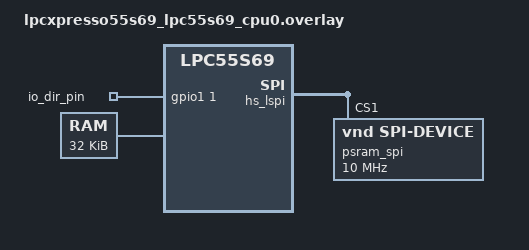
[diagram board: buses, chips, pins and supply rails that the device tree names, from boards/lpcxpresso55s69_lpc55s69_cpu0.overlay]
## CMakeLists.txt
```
cmake_minimum_required(VERSION 3.20.0)

set(CMAKE_C_STANDARD 11)
set(CMAKE_CXX_STANDARD 17)

find_package(Zephyr REQUIRED HINTS $ENV{ZEPHYR_BASE})
project(app)

target_include_directories(app PRIVATE ../../../modules/bunny_build/src)
target_include_directories(app PUBLIC ../../../modules/hal/nxp/mcux/mcux-sdk/drivers/sysctl)
target_include_directories(app PRIVATE ./src)                            

target_sources(app PRIVATE  src/main.cpp
                            src/ext_ram.cpp
                            src/ezh_app.c
                        )

target_sources(app PRIVATE ../../../modules/bunny_build/src/bunny_build.c)
target_sources(app PRIVATE ../../../modules/bunny_build/src/ezh_init.c)
```

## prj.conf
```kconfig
CONFIG_LOG=y
CONFIG_SHELL=y
CONFIG_GPIO=y
CONFIG_LOG_CMDS=y


CONFIG_LOG_BUFFER_SIZE=32768


CONFIG_GPIO=y
CONFIG_FPU=y
CONFIG_CPP=y
CONFIG_SHELL_STACK_SIZE=4096 
CONFIG_STD_CPP17=y
CONFIG_BUILD_OUTPUT_HEX=y

CONFIG_SHELL_VT100_COLORS=y
CONFIG_SPI_MCUX_FLEXCOMM_DMA=y
CONFIG_SPI=y


CONFIG_UART_CONSOLE=n
CONFIG_RTT_CONSOLE=y
CONFIG_USE_SEGGER_RTT=y
CONFIG_SHELL_BACKEND_RTT=y

#CONFIG_UART_CONSOLE=y
#CONFIG_RTT_CONSOLE=n
#CONFIG_USE_SEGGER_RTT=n
#CONFIG_SHELL_BACKEND_RTT=n

#Make shell stack a little bigger for larger psram test buffers in the
#mem_test routints
CONFIG_SHELL_STACK_SIZE=8192 

CONFIG_SHELL_PROMPT_UART="i_am_gibbon>"
CONFIG_SHELL_PROMPT_RTT="i_am_gibbon>"
```

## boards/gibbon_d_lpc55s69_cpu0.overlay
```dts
/ {

    aliases {
		io-dir-pin = &io_dir_pin;
	};

    gpio_keys{
        io_dir_pin: P11 {
			gpios = <&gpio1 1 GPIO_ACTIVE_HIGH>;
		};
    };
};

&hs_lspi
{
    status = "okay";

    pinctrl-0 = <&pinmux_hs_lspi_default>;
    pinctrl-names = "default";

    /delete-node/ psram@1;

    psram_spi: psram@0 {
        compatible = "vnd,spi-device";
        reg = <0>; //Use Chip select 1
        spi-max-frequency = <25000000>; //50000000
        };
};


&pinctrl {

    pinmux_hs_lspi_default: pinmux_hs_lspi_default {
        group0 {        
            pinmux = <HS_SPI_SSEL0_PIO0_20>,     // MCUX-LINK PRO SSEL0  
                <HS_SPI_SCK_PIO1_2>,            //CORRECT
                <HS_SPI_MISO_PIO1_3>,           //CORRECT
                <HS_SPI_MOSI_PIO0_26>;          //CORRECT
            bias-pull-up;
            slew-rate = "standard";
        };
    };
};
```

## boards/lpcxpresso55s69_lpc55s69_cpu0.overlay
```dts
&hs_lspi
{
    status = "okay";

    pinctrl-0 = <&pinmux_hs_lspi_default>;
    pinctrl-names = "default";

    /delete-property/ cs-gpios;

    psram_spi: psram@1 {
        compatible = "vnd,spi-device";
        reg = <1>; //Use Chip select 1
        spi-max-frequency = <10000000>; //50000000
        };
};

//&sram {
//    sramx: memory@4000000 {
//        compatible =  "zephyr,memory-region", "mmio-sram";
//        reg = <0x04000000 DT_SIZE_K(32)>;
//        zephyr,memory-region = "SRAMX";
//        zephyr,memory-attr = <( DT_MEM_ARM(ATTR_MPU_IO) )>;
//    };
//};

&pinctrl {

    pinmux_hs_lspi_default: pinmux_hs_lspi_default {
        group0 {        
            pinmux = 
               <HS_SPI_SSEL0_PIO0_20>,     // MCUX-LINK PRO SSEL0  
               // <HS_SPI_SSEL1_PIO1_1>,     // LPC55S69 Xpresso SSEL1
                <HS_SPI_SCK_PIO1_2>,            //CORRECT
                <HS_SPI_MISO_PIO1_3>,           //CORRECT
                <HS_SPI_MOSI_PIO0_26>;          //CORRECT
            bias-pull-up;
            slew-rate = "standard";
        };
    };
};

/ {

    aliases {
		io-dir-pin = &io_dir_pin;
	};


    gpio_keys{
       io_dir_pin: P11 {
			gpios = <&gpio1 1 GPIO_ACTIVE_HIGH>;
		};
    };

    sram_ezh0: memory@4000000{
        compatible = "zephyr,memory-region", "mmio-sram";
        reg = <0x4000000 DT_SIZE_K(32)>;
        zephyr,memory-region="SRAMX_EZH";
        zephyr,memory-attr = <( DT_MEM_ARM(ATTR_MPU_IO))>;
	 };
};
```

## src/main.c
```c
#include <zephyr/kernel.h>
#include <zephyr/logging/log.h>
#include <zephyr/shell/shell.h>
#include "ezh_app.h"

static int monkey_handler(const struct shell *shell, 
                      size_t argc,
                      char **argv)
{
   ARG_UNUSED(argc);
   ARG_UNUSED(argv);

   shell_fprintf(shell,SHELL_VT100_COLOR_YELLOW,"\r\n");
   shell_fprintf(shell,SHELL_VT100_COLOR_YELLOW,"                 ██████████████████████████            \r\n");
   shell_fprintf(shell,SHELL_VT100_COLOR_YELLOW,"               ██▒▒▒▒▒▒▒▒▒▒▒▒▒▒▒▒▒▒▒▒▒▒▒▒▒▒██          \r\n");
   shell_fprintf(shell,SHELL_VT100_COLOR_YELLOW,"               ██▒▒▒▒▒▒▒▒▒▒▒▒▒▒▒▒▒▒▒▒▒▒▒▒▒▒▒▒██        \r\n");
   shell_fprintf(shell,SHELL_VT100_COLOR_YELLOW,"             ██▒▒▒▒░░░░░░▒▒▒▒▒▒▒▒▒▒▒▒▒▒▒▒░░░░██        \r\n");
   shell_fprintf(shell,SHELL_VT100_COLOR_YELLOW,"         ██████▒▒░░░░░░░░░░▒▒▒▒▒▒▒▒▒▒▒▒░░░░░░░░██      \r\n");
   shell_fprintf(shell,SHELL_VT100_COLOR_YELLOW,"       ██░░░░░░▒▒░░░░░░░░░░░░░░░░░░░░░░░░░░░░░░██████  \r\n");
   shell_fprintf(shell,SHELL_VT100_COLOR_YELLOW,"       ██░░░░░░▒▒░░░░░░░░░░░░░░░░░░░░░░░░░░░░░░██░░░░██\r\n");
   shell_fprintf(shell,SHELL_VT100_COLOR_YELLOW,"       ██░░░░░░▒▒░░░░░░░░░░██░░░░░░░░██░░░░░░░░██░░░░██\r\n");
   shell_fprintf(shell,SHELL_VT100_COLOR_YELLOW,"         ████░░▒▒░░░░░░░░░░██░░░░░░░░██░░░░░░░░██████  \r\n");
   shell_fprintf(shell,SHELL_VT100_COLOR_YELLOW,"             ██▒▒░░░░░░░░░░░░░░░░░░░░░░░░░░░░░░██      \r\n");
   shell_fprintf(shell,SHELL_VT100_COLOR_YELLOW,"     ████      ██▒▒░░░░░░░░░░░░░░░░░░░░░░░░░░██        \r\n");
   shell_fprintf(shell,SHELL_VT100_COLOR_YELLOW,"   ██    ██      ██▒▒░░░░░░░░░░░░░░░░░░░░░░██          \r\n");
   shell_fprintf(shell,SHELL_VT100_COLOR_YELLOW,"   ██  ██      ██▒▒▒▒▒▒▒▒▒▒▒▒▒▒▒▒▒▒▒▒▒▒▒▒▒▒▒▒██        \r\n");
   shell_fprintf(shell,SHELL_VT100_COLOR_YELLOW,"   ██          ██▒▒▒▒▒▒▒▒░░░░░░░░░░░░▒▒▒▒▒▒▒▒██        \r\n");
   shell_fprintf(shell,SHELL_VT100_COLOR_YELLOW,"     ████    ██▒▒▒▒▒▒▒▒░░░░░░░░░░░░░░░░▒▒▒▒▒▒▒▒██      \r\n");
   shell_fprintf(shell,SHELL_VT100_COLOR_YELLOW,"         ██████▒▒▒▒▒▒▒▒░░░░░░░░░░░░░░░░▒▒▒▒▒▒▒▒██      \r\n");
   shell_fprintf(shell,SHELL_VT100_COLOR_YELLOW,"             ██▒▒▒▒██▒▒░░░░░░░░░░░░░░░░▒▒██▒▒▒▒██      \r\n");
   shell_fprintf(shell,SHELL_VT100_COLOR_YELLOW,"               ██████▒▒▒▒░░░░░░░░░░░░▒▒▒▒██████        \r\n");
   shell_fprintf(shell,SHELL_VT100_COLOR_YELLOW,"                   ██▒▒▒▒▒▒████████▒▒▒▒▒▒██            \r\n");
   shell_fprintf(shell,SHELL_VT100_COLOR_YELLOW,"                   ██░░░░██        ██░░░░██            \r\n");
   shell_fprintf(shell,SHELL_VT100_COLOR_YELLOW,"                   ██████            ██████            \r\n");
   shell_fprintf(shell,SHELL_VT100_COLOR_YELLOW,"\r\n");
   shell_fprintf(shell,SHELL_VT100_COLOR_CYAN,"                          I'm Super\r\n");
      
   return 0;
}

SHELL_CMD_REGISTER(monkey, NULL, "I'm super.", monkey_handler);

LOG_MODULE_REGISTER(main);


int main(void)
{
    LOG_INF("Hello Zephyr!");
   

    ezh__start_app();

    while (1)
    {
                ezh__execute_command(2);
        k_sleep(K_MSEC(100));

        ezh__execute_command(1);
        k_sleep(K_MSEC(100));

    }

    while (1)
    {   
        LOG_INF("Hello from main!");
        k_sleep(K_MSEC(500));
    }
    
	return 0;
}
```

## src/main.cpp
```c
#include <zephyr/kernel.h>
#include <zephyr/logging/log.h>
#include <zephyr/shell/shell.h>
#include "fsl_clock.h"
#include "fsl_device_registers.h"
#include "ezh_app.h"
#include "ext_ram.h"
#include "fsl_common.h"
#include "fsl_clock.h"
#include "fsl_common.h"
#include "fsl_clock.h"
#include "fsl_spi.h"
#include "fsl_iocon.h"
#include <fsl_sysctl.h>

LOG_MODULE_REGISTER(main);

static ExtRAM ext_ram; // create RAM instaance

static int gibbon_handler(const struct shell *shell,
						  size_t argc,
						  char **argv)
{
	ARG_UNUSED(argc);
	ARG_UNUSED(argv);

	shell_fprintf(shell, SHELL_VT100_COLOR_YELLOW, "\r\n");
	shell_fprintf(shell, SHELL_VT100_COLOR_YELLOW, "                 ██████████████████████████            \r\n");
	shell_fprintf(shell, SHELL_VT100_COLOR_YELLOW, "               ██▒▒▒▒▒▒▒▒▒▒▒▒▒▒▒▒▒▒▒▒▒▒▒▒▒▒██          \r\n");
	shell_fprintf(shell, SHELL_VT100_COLOR_YELLOW, "               ██▒▒▒▒▒▒▒▒▒▒▒▒▒▒▒▒▒▒▒▒▒▒▒▒▒▒▒▒██        \r\n");
	shell_fprintf(shell, SHELL_VT100_COLOR_YELLOW, "             ██▒▒▒▒░░░░░░▒▒▒▒▒▒▒▒▒▒▒▒▒▒▒▒░░░░██        \r\n");
	shell_fprintf(shell, SHELL_VT100_COLOR_YELLOW, "         ██████▒▒░░░░░░░░░░▒▒▒▒▒▒▒▒▒▒▒▒░░░░░░░░██      \r\n");
	shell_fprintf(shell, SHELL_VT100_COLOR_YELLOW, "       ██░░░░░░▒▒░░░░░░░░░░░░░░░░░░░░░░░░░░░░░░██████  \r\n");
	shell_fprintf(shell, SHELL_VT100_COLOR_YELLOW, "       ██░░░░░░▒▒░░░░░░░░░░░░░░░░░░░░░░░░░░░░░░██░░░░██\r\n");
	shell_fprintf(shell, SHELL_VT100_COLOR_YELLOW, "       ██░░░░░░▒▒░░░░░░░░░░██░░░░░░░░██░░░░░░░░██░░░░██\r\n");
	shell_fprintf(shell, SHELL_VT100_COLOR_YELLOW, "         ████░░▒▒░░░░░░░░░░██░░░░░░░░██░░░░░░░░██████  \r\n");
	shell_fprintf(shell, SHELL_VT100_COLOR_YELLOW, "             ██▒▒░░░░░░░░░░░░░░░░░░░░░░░░░░░░░░██      \r\n");
	shell_fprintf(shell, SHELL_VT100_COLOR_YELLOW, "     ████      ██▒▒░░░░░░░░░░░░░░░░░░░░░░░░░░██        \r\n");
	shell_fprintf(shell, SHELL_VT100_COLOR_YELLOW, "   ██    ██      ██▒▒░░░░░░░░░░░░░░░░░░░░░░██          \r\n");
	shell_fprintf(shell, SHELL_VT100_COLOR_YELLOW, "   ██  ██      ██▒▒▒▒▒▒▒▒▒▒▒▒▒▒▒▒▒▒▒▒▒▒▒▒▒▒▒▒██        \r\n");
	shell_fprintf(shell, SHELL_VT100_COLOR_YELLOW, "   ██          ██▒▒▒▒▒▒▒▒░░░░░░░░░░░░▒▒▒▒▒▒▒▒██        \r\n");
	shell_fprintf(shell, SHELL_VT100_COLOR_YELLOW, "     ████    ██▒▒▒▒▒▒▒▒░░░░░░░░░░░░░░░░▒▒▒▒▒▒▒▒██      \r\n");
	shell_fprintf(shell, SHELL_VT100_COLOR_YELLOW, "         ██████▒▒▒▒▒▒▒▒░░░░░░░░░░░░░░░░▒▒▒▒▒▒▒▒██      \r\n");
	shell_fprintf(shell, SHELL_VT100_COLOR_YELLOW, "             ██▒▒▒▒██▒▒░░░░░░░░░░░░░░░░▒▒██▒▒▒▒██      \r\n");
	shell_fprintf(shell, SHELL_VT100_COLOR_YELLOW, "               ██████▒▒▒▒░░░░░░░░░░░░▒▒▒▒██████        \r\n");
	shell_fprintf(shell, SHELL_VT100_COLOR_YELLOW, "                   ██▒▒▒▒▒▒████████▒▒▒▒▒▒██            \r\n");
	shell_fprintf(shell, SHELL_VT100_COLOR_YELLOW, "                   ██░░░░██        ██░░░░██            \r\n");
	shell_fprintf(shell, SHELL_VT100_COLOR_YELLOW, "                   ██████            ██████            \r\n");
	shell_fprintf(shell, SHELL_VT100_COLOR_YELLOW, "\r\n");
	shell_fprintf(shell, SHELL_VT100_COLOR_CYAN, "                          i am gibbon\r\n");

	return 0;
}

static int psram_rdid_handler(const struct shell *shell,
							  size_t argc,
							  char **argv)
{
	ARG_UNUSED(argc);
	ARG_UNUSED(argv);

	uint16_t RDID_Code = ext_ram.rdid();

	shell_print(shell,"RDID: 0x%04x\r",RDID_Code);

	return 0;
}

#define TEST_BUFFER_SIZE        128
#define PSRAM_SIZE              0x200000

uint8_t test_write_buffer[TEST_BUFFER_SIZE];
uint8_t test_read_buffer[TEST_BUFFER_SIZE];

static int psram_test_handler(const struct shell *shell,
							  size_t argc,
							  char **argv)
{
	ARG_UNUSED(argc);
	ARG_UNUSED(argv);

	bool failed = false;

    for(uint32_t base_addr = 0; base_addr<PSRAM_SIZE; base_addr+=TEST_BUFFER_SIZE)
    {
    
        for(int i=0; i<TEST_BUFFER_SIZE; i++)
        {
            test_write_buffer[i] = rand();
        }

        shell_print(shell,"Testing %d bytes at psram base address 0x%08x   \r",TEST_BUFFER_SIZE,base_addr);

        ext_ram.write(base_addr,&test_write_buffer[0],TEST_BUFFER_SIZE);

        //ext_ram.read(0,&test_read_buffer[0],TEST_BUFFER_SIZE);
        ext_ram.fast_read(base_addr,&test_read_buffer[0],TEST_BUFFER_SIZE);

        if(memcmp(test_write_buffer , test_read_buffer , TEST_BUFFER_SIZE)!=0)
        {

            shell_print(shell,"Memory test fail at base address 0x%08x",base_addr);

            shell_print(shell,"Data write buffer : ");

           shell_hexdump(shell,test_write_buffer,TEST_BUFFER_SIZE);

            shell_print(shell,"Data read buffer : ");

            shell_hexdump(shell,test_read_buffer,TEST_BUFFER_SIZE);
            
            failed = true;

            return 0;
        }


    }


    if(failed == false)
    {
        shell_print(shell,"\r\n Memory test passed");
    }
    
	return 0;
}



SHELL_CMD_REGISTER(psram_rdid, NULL, "psram_rdid", psram_rdid_handler);
SHELL_CMD_REGISTER(psram_test, NULL, "psram_test", psram_test_handler);
SHELL_CMD_REGISTER(gibbon, NULL, "i am gibbon", gibbon_handler);


int main(void)
{

	 ext_ram.Init();
	
	while (1)
	{
		k_sleep(K_MSEC(100));
	}

	return 0;
}
```

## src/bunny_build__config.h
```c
#include "bunny_build__targets.h"
#include <zephyr/logging/log.h>
#include <zephyr/shell/shell.h>

#ifndef _BUNNY_BUILD_CONF_H
#define _BUNNY_BUILD_CONF_H

#if defined(CONFIG_BOARD_LPCXPRESSO55S69_LPC55S69_CPU0)
#define LPC_EZH_ARCH_B_CON_BASE 			LPC_EZH_ARCH_B_CON_BASE__LPC556x
#elif defined(CONFIG_BOARD_GIBBON_D_LPC55S69_CPU0)
#define LPC_EZH_ARCH_B_CON_BASE 			LPC_EZH_ARCH_B_CON_BASE__MCX
#elif defined (CONFIG_BOARD_FRDM_MCXN947_MCXN947_CPU0)
#define LPC_EZH_ARCH_B_CON_BASE 			LPC_EZH_ARCH_B_CON_BASE__MCX
#endif

#define BUNNY_BUILD_PRINTF(...)			     printk(__VA_ARGS__);
#define BUNNY_BUILD_MAX_LABELS				 32

/*
	Output formatting for printf messages
*/

#define VT100_RED     "\033[31;40m"
#define VT100_GREEN   "\033[32;40m"
#define VT100_YELLOW  "\033[33;40m"
#define VT100_BLUE    "\033[34;40m"
#define VT100_MAGENTA "\033[35;40m"
#define VT100_CYAN    "\033[36;40m"
#define VT100_WHITE   "\033[37;40m"
#define VT100_DEFAULT  VT100_WHITE


//#define BUNNY_BUILD_ERROR_FLAG		VT100_RED "[ERROR] " VT100_DEFAULT
//#define BUNNY_BUILD_WARNING_FLAG		VT100_YELLOW "[WARNING] " VT100_DEFAULT
//#define BUNNY_BUILD_INFO_FLAG			VT100_GREEN "[INFO] " VT100_DEFAULT

#define BUNNY_BUILD_ERROR_FLAG		
#define BUNNY_BUILD_WARNING_FLAG	
#define BUNNY_BUILD_INFO_FLAG		





#endif // !_EZBUILD_CONF_H
```

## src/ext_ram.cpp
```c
#include "ext_ram.h"
#include <zephyr/kernel.h>
#include <zephyr/logging/log.h>
#include <zephyr/drivers/spi.h>

#include "fsl_common.h"
#include "fsl_clock.h"
#include "fsl_iocon.h"

#include "ezh_app.h"
#include "fsl_spi.h"

LOG_MODULE_REGISTER(psram, LOG_LEVEL_DBG);

// This variables must be global
uint32_t ezh_stack[64];
uint32_t ezh_debug_params[10];
EZHPWM_Para ezh_parameters;
ezh_spi_params_t ezh_spi_params;


#define IOCON_PIO_DIGITAL_EN 0x0100u  /*!<@brief Enables digital function */
#define IOCON_PIO_FUNC1 0x01u         /*!<@brief Selects pin function 1 */
#define IOCON_PIO_FUNC5 0x05u         /*!<@brief Selects pin function 5 */
#define IOCON_PIO_FUNC6 0x06u         /*!<@brief Selects pin function 6 */
#define IOCON_PIO_FUNC9 0x09u         /*!<@brief Selects pin function 9 */
#define IOCON_PIO_INV_DI 0x00u        /*!<@brief Input function is not inverted */
#define IOCON_PIO_MODE_INACT 0x00u    /*!<@brief No addition pin function */
#define IOCON_PIO_MODE_PULLUP 0x20u   /*!<@brief Selects pull-up function */
#define IOCON_PIO_OPENDRAIN_DI 0x00u  /*!<@brief Open drain is disabled */
#define IOCON_PIO_SLEW_STANDARD 0x00u /*!<@brief Standard mode, output slew rate control is enabled */


const uint32_t port1_pin1_config = (/* Pin is configured as HS_SPI_SSEL1 */
                                        IOCON_PIO_FUNC5 |
                                        /* Selects pull-up function */
                                        IOCON_PIO_MODE_PULLUP |
                                        /* Standard mode, output slew rate control is enabled */
                                        IOCON_PIO_SLEW_STANDARD |
                                        /* Input function is not inverted */
                                        IOCON_PIO_INV_DI |
                                        /* Enables digital function */
                                        IOCON_PIO_DIGITAL_EN |
                                        /* Open drain is disabled */
                                        IOCON_PIO_OPENDRAIN_DI);


void SPI8__init()
{
    IOCON_PinMuxSet(IOCON, 1U, 1U, port1_pin1_config);

	spi_master_config_t SPI_Config = {0};

	CLOCK_AttachClk(kMAIN_CLK_to_HSLSPI);

	// reset FLEXCOMM for SPI
	RESET_PeripheralReset(kHSLSPI_RST_SHIFT_RSTn);

	SPI_MasterGetDefaultConfig(&SPI_Config);

	SPI_Config.sselNum = (spi_ssel_t)0;
	SPI_Config.enableMaster = true;
	SPI_Config.phase = (spi_clock_phase_t)0;
	SPI_Config.polarity = (spi_clock_polarity_t)0;
	SPI_Config.dataWidth = kSPI_Data8Bits;
	SPI_Config.baudRate_Bps = CONFIG__SPI_SCK_FREQ;
	SPI_MasterInit(SPI8, &SPI_Config, CLOCK_GetHsLspiClkFreq());
}

ExtRAM::ExtRAM() : m_first(true)  {} 

void ExtRAM::Init()
 {
	ezh__build_apps();
	SPI8__init();
    init_complete = true;
}

uint16_t ExtRAM::rdid()
{
    /*
        Note... The current Tx/Rx pipelie is deep.  Need a minimum of 5 bytes total.
    */

    uint64_t RDID_Code;
    
    ezh_spi_params.cmd_and_addr =  (PSRAM__RDID << 24);  
    ezh_spi_params.wait_cycles =  0; // zero dummy cycles
    
    ezh_spi_params.buffer_length = sizeof(RDID_Code); // length in bytes
    ezh_spi_params.buffer_ptr = (uint32_t *)(&RDID_Code);

    ezh_parameters.coprocessor_stack = (void *)ezh_stack;
    ezh_parameters.p_buffer = (uint32_t *)(&ezh_spi_params);

    ezh__execute_command(SPI_READ_APP, &ezh_parameters);

    while(ezh__command_complete() == false)
    {

    }

     return RDID_Code;
}




int32_t ExtRAM::fast_read(uint32_t address, uint8_t *data, uint32_t len)
{
     
    ezh_spi_params.cmd_and_addr =  (PSRAM__FAST_READ << 24) | (address & 0xffffff);       
    ezh_spi_params.wait_cycles =  1; // zero dummy cycles
    
    ezh_spi_params.buffer_length = len; // length in bytes
    ezh_spi_params.buffer_ptr = (uint32_t *)(data);

    ezh_parameters.coprocessor_stack = (void *)ezh_stack;
    ezh_parameters.p_buffer = (uint32_t *)(&ezh_spi_params);

    ezh__execute_command(SPI_READ_APP, &ezh_parameters);
    
    while(ezh__command_complete() == false)
    {

    }

     return 0;

}

int32_t ExtRAM::read(uint32_t address, uint8_t *data, uint32_t len)
{


    fast_read(address,data, len);

     return 0;
      
}

int32_t ExtRAM::write(uint32_t address, uint8_t *data, uint32_t len)
{
    
    ezh_spi_params.cmd_and_addr =  (((uint8_t)PSRAM__WRITE) << 24) | (address & 0xffffff);      
    ezh_spi_params.wait_cycles =  0; // zero dummy cycles
        
    ezh_spi_params.buffer_length = len; // length in bytes
    ezh_spi_params.buffer_ptr = (uint32_t *)(data);

    ezh_parameters.coprocessor_stack = (void *)ezh_stack;
    ezh_parameters.p_buffer = (uint32_t *)(&ezh_spi_params);
 
    ezh__execute_command(SPI_WRITE_APP, &ezh_parameters);

    while(ezh__command_complete() == false)
    {

    }

    return 0;
}
```

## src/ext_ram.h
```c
#pragma once

#include <stdbool.h>
#include <stdint.h>
#include <zephyr/drivers/spi.h>


#ifndef CONFIG_PSRAM_SIZE_BYTES
  #define CONFIG_PSRAM_SIZE_BYTES              0x200000
#endif

typedef enum {
    PSRAM__WRITE     = 0x02,      //datasheet says max 144MHz w/ 8 Clock cycle latency
    PSRAM__READ      = 0x03,       //datasheet says max 33MHz on this command
    PSRAM__FAST_READ = 0x0B,  //datasheet says max 144MHz w/ 8 Clock wait
    PSRAM__RDID      = 0x9f,
} psram_cmd_t;

class ExtRAM {
  public:
    ExtRAM();
    void Init();
    
    int32_t read(uint32_t address, uint8_t *data, uint32_t len);
    int32_t fast_read(uint32_t address, uint8_t *data, uint32_t len);
    int32_t write(uint32_t address, uint8_t *data, uint32_t len);    
    
    uint16_t rdid();

    bool init_complete;
    const uint32_t size = CONFIG_PSRAM_SIZE_BYTES;

  private:
    bool m_first;
};
```

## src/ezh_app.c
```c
#include <zephyr/irq.h>
#include <zephyr/logging/log.h>
#include "fsl_common.h"

#include "fsl_clock.h"
#include "ezh_init.h"
#include <ezh_app.h>
#include "bunny_build.h"
#include "fsl_device_registers.h"


LOG_MODULE_REGISTER(EZH_MGR);


#define SPI_READ_JUNK_BYTE  0X00
#define START_RXLVL         2 


#define CONFIG_ENABLE_EZH_TEST_IO 1

#if CONFIG_ENABLE_EZH_TEST_IO  == 1 

#define   TOGGLE_TEST_IO      E_BTOG_IMM(GPO, GPO, EZH_TEST_GPIO_1); 

#else

#define   TOGGLE_TEST_IO      E_BTOG_IMM(GPO, GPO, EZH_TEST_GPIO_1); 

#endif

__attribute((section("SRAMX_EZH"))) uint32_t ezh_ram[512];
__attribute((section("SRAMX_EZH"))) uint32_t ezh_app0[256];
__attribute((section("SRAMX_EZH"))) uint32_t ezh_app1[256];


void ezh_app__toggle1(void);
void ezh_app__toggle2(void);
void ezh_app__spi_wr(void);
void ezh_app__spi_rd(void);

#define EZH__Reserved46_IRQn (IRQn_Type)30

static volatile bool last_ezh_op_complete = true;

uint32_t ezh_app_offset[8];
uint32_t test_val;

uint32_t * selected_program = 0;
uint32_t offset = 0;

ISR_DIRECT_DECLARE(Reserved46_IRQHandler__EZH)
{
    EZH_SetExternalFlag(1);

    last_ezh_op_complete=true;

    test_val = LPC_EZH_ARCH_B0->EZHB_EZH2ARM;

    EZH_stop();

    EZH_SetExternalFlag(0);

    return 0;
}

void ezh__build_apps()
{

    EZH_SetExternalFlag(0);

    irq_disable(EZH__Reserved46_IRQn); // EZH irq NUMBER 30

    IRQ_DIRECT_CONNECT(EZH__Reserved46_IRQn, 0, Reserved46_IRQHandler__EZH, 0) // IRQ_ZERO_LATENCY doesn't build yet

    IOCON->PIO[0][EZH_TEST_GPIO_1] = PINFUNC_EZH | 2 << 4 | 1 << 8;
   
    SYSCON->AHBMATPRIO |= (0x3<<14)|(0x3<<12);   //Give priority to the EZH on the AHB    

    CLOCK_EnableClock(kCLOCK_Ezhb); // enable EZH clock

    irq_enable(EZH__Reserved46_IRQn); // EZH irq number 30

   uint32_t last_idx=0;
   uint32_t num_ezh_apps=0;

   ezh_app_offset[SPI_WRITE_APP] = last_idx;

   last_idx += bunny_build(&ezh_ram[ezh_app_offset[SPI_WRITE_APP]],
                sizeof(ezh_app0),
                ezh_app__spi_wr);

   num_ezh_apps++;

   ezh_app_offset[SPI_READ_APP] = 256;

   last_idx += bunny_build(&ezh_ram[ ezh_app_offset[SPI_READ_APP]],
                    sizeof(ezh_app1),
                    ezh_app__spi_rd);
   
   num_ezh_apps++;


   BUNNY_BUILD_PRINTF("Built %d ezh apps using a total of %d bytes\r\n",num_ezh_apps,last_idx*4);
}

void E__END()
{
    E_LABEL("END_LOOP");   
        E_LOAD_IMM(CFS, 0);
        E_LOAD_SIMM(R0, 0xDB, 24);
        E_LOAD_SIMM(R1, 0x6D, 16);
        E_LOAD_SIMM(R2, 0xB6, 8);
        E_XOR(R0, R0, R1);
        E_XOR(CFM, R0, R2);
        E_HOLD();
        E_GOTO("END_LOOP");
}

void ezh__execute_command(uint8_t cmd, EZHPWM_Para * ezh_parameters_ptr)
{
    if(cmd<EZH_APP_QTY)
    {
        offset = ezh_app_offset[cmd];
        selected_program = &ezh_ram[offset];
       // selected_program =  &ezh_ram[ezh_app_offset[cmd]];
    //the offset array gets trashed after teh 1st call...

        if(cmd == 0)
            selected_program = &ezh_ram[0];
        else
            selected_program = &ezh_ram[256];

        last_ezh_op_complete=false;

        EZH_init_and_boot(selected_program, ezh_parameters_ptr);
    }
}

bool ezh__command_complete()
{
    return last_ezh_op_complete;
}

void ezh_app__toggle1(void)
{
    E_NOP;
    E_NOP;

    E_PER_READ(R6, ARM2EZH);                // Read the base address of the parameters into R6
    E_LSR(R6, R6, 2);                       // make sure parameter structure 32-bit aligned
    E_LSL(R6, R6, 2);                       //

    E_LDR(SP, R6, 0);                       // load stack pointer from the 1st 32-bit word of the parameter struct
    E_LDR(R7, R6, 1);                       // R7 -> load the base address of debug parameter array into R7

    E_BSET_IMM(GPD, GPD, EZH_TEST_GPIO_1);

    E_HEART_RYTHM_IMM((150000000 / 10));
    E_BTOG_IMM(GPO, GPO, EZH_TEST_GPIO_1); 
    E_WAIT_FOR_BEAT();
    E_WAIT_FOR_BEAT();
    E_WAIT_FOR_BEAT();
    E_WAIT_FOR_BEAT();
    E_BTOG_IMM(GPO, GPO, EZH_TEST_GPIO_1); 
    E_WAIT_FOR_BEAT();
    E_WAIT_FOR_BEAT();
    E_WAIT_FOR_BEAT();
    E_WAIT_FOR_BEAT();

    E_PER_WRITE(R0, EZH2ARM);

    E__END();   
}

void ezh_app__toggle2(void)
{
    E_NOP;
    E_NOP;

    E_PER_READ(R6, ARM2EZH);                // Read the base address of the parameters into R6
    E_LSR(R6, R6, 2);                       // make sure parameter structure 32-bit aligned
    E_LSL(R6, R6, 2); 

    E_LDR(SP, R6, 0);                       // load stack pointer from the 1st 32-bit word of the parameter struct
    E_LDR(R7, R6, 1);                       // R7 -> load the base address of debug parameter array into R7

    E_BSET_IMM(GPD, GPD, EZH_TEST_GPIO_1);

    E_HEART_RYTHM_IMM((150000000 / 10));

    E_BTOG_IMM(GPO, GPO, EZH_TEST_GPIO_1); 

    E_WAIT_FOR_BEAT();
    E_WAIT_FOR_BEAT();
    E_WAIT_FOR_BEAT();
    E_WAIT_FOR_BEAT();
    E_BTOG_IMM(GPO, GPO, EZH_TEST_GPIO_1); 

    E_WAIT_FOR_BEAT();
    E_WAIT_FOR_BEAT();
    E_WAIT_FOR_BEAT();
    E_WAIT_FOR_BEAT();

    E_BTOG_IMM(GPO, GPO, EZH_TEST_GPIO_1); 

    E_WAIT_FOR_BEAT();
    E_WAIT_FOR_BEAT();
    E_WAIT_FOR_BEAT();
    E_WAIT_FOR_BEAT();
    E_BTOG_IMM(GPO, GPO, EZH_TEST_GPIO_1); 

    E_WAIT_FOR_BEAT();
    E_WAIT_FOR_BEAT();
    E_WAIT_FOR_BEAT();
    E_WAIT_FOR_BEAT();

E_PER_WRITE(R0, EZH2ARM);

    E__END();   
}

/*
              ___ _____  _   ___ ___ ___             
  ___   ___  | __|_  / || | / __| _ \_ _|  ___   ___ 
 |___| |___| | _| / /| __ | \__ \  _/| |  |___| |___|
             |___/___|_||_| |___/_| |___|            

*/                                                     

 // LOAD 32 BIT IMM
#define E_LOAD_32IMM(rx, imm)                   \
    E_PUSH(R5);                                 \
    E_LOAD_SIMM(rx, (uint8_t)(imm >> 24), 24);  \
    E_LOAD_SIMM(R5, (uint8_t)(imm >> 16), 16);  \
    E_OR(rx, rx, R5);                           \
    E_LOAD_SIMM(R5, (uint8_t)(imm >> 8), 8);    \
    E_OR(rx, rx, R5);                           \
    E_LOAD_IMM(R5, (uint8_t)(imm));             \
    E_OR(rx, rx, R5);                           \
    E_POP(R5);               



#define SPI8_FIFOWR_ADDR            (SPI8_BASE + 0xE20)  
#define SPI8_FIFORD_ADDR            (SPI8_BASE + 0xE30)  
#define SPI8_FIFOCFG_ADDR           (SPI8_BASE + 0xE00)  
#define SPI8_FIFOSTAT_ADDR          (SPI8_BASE + 0XE04)

#define SPI_FIFOWR__BASIC_CONFIG_WR      ((1 << 22) | (7 << 24))                                  //Activating all chip selects

#define SPI_FIFOWR__BASIC_CONFIG_WR_EOT  ((1 << 22) | (7 << 24) | (0xf<<16) | (1<<20))         //Note:  deactiving all chip selects

#define SPI_FIFOWR__BASIC_CONFIG_RD       ((7 << 24) | (0xf<<16))                               //Activating all chip selects
#define SPI_FIFOWR__BASIC_CONFIG_RD_EOT   (SPI_FIFOWR__BASIC_CONFIG_RD | (0xf<<16) | (1<<20))   //Note:  deactiving all chip selects


#if defined(CONFIG__SPI_SCK_FREQ) && (CONFIG__SPI_SCK_FREQ == 10000000)
#define MAGIC_RYTHM ((7 * 15) + 6)  //for 10MHz
#elif defined(CONFIG__SPI_SCK_FREQ) && (CONFIG__SPI_SCK_FREQ == 25000000)
#define MAGIC_RYTHM ((7 * 5) + 18 ) //for 25MHz
#elif defined(CONFIG__SPI_SCK_FREQ) && (CONFIG__SPI_SCK_FREQ == 33000000)
#define MAGIC_RYTHM (15) //for 33MHz
#elif defined(CONFIG__SPI_SCK_FREQ) && (CONFIG__SPI_SCK_FREQ == 50000000)
#define MAGIC_RYTHM (5) //for 33MHz
#else
#error "SPI_SCK_FREQ NOT DEFINED"
#endif

void ezh_app__spi_wr(void)
{
    E_NOP;
    E_NOP;

    E_PER_READ(R6, ARM2EZH);                    // Read the base address of the parameters into R6
    E_LSR(R6, R6, 2);                           // make sure parameter structure 32-bit aligned
    E_LSL(R6, R6, 2); 
    E_LDR(SP, R6, 0);                           // load stack pointer from the 1st 32-bit word of the parameter struct
    E_LDR(R7, R6, 1);                           // R7 -> load the base address the parameters struct

    E_HEART_RYTHM_IMM(MAGIC_RYTHM);

    // Transmit CMD + ADDR - unrolled loop.  
    E_ADD_IMM(R0, R7, 0);   //Load the cmd + address into R0     

    E_LOAD_32IMM(R3, SPI8_FIFOWR_ADDR);               
    E_LOAD_32IMM(R4, SPI_FIFOWR__BASIC_CONFIG_WR);   

    // TRANSMIT value[31:24]
    E_LDRB(R1, R0, 3);              
    E_OR(R2, R4, R1);
    E_STR(R3, R2, 0);

    // TRANSMIT value[23:16]
    E_LDRB(R1, R0, 2); 
    E_OR(R2, R4, R1);
    E_STR(R3, R2, 0);

    // TRANSMIT value[15:8]
    E_LDRB(R1, R0, 1);
    E_OR(R2, R4, R1);
    E_STR(R3, R2, 0);
   
    // TRANSMIT value[7:0]
    E_LDRB(R1, R0, 0);
    E_OR(R2, R4, R1);
    E_STR(R3, R2, 0);   
  

    //Data write loop

    E_LDR(R2, R7, 2);  // Load buffer length
    E_LDR(R5, R7, 3);  // R5 = transmit buffer pointer

    E_LOAD_32IMM(R1, SPI8_FIFOWR_ADDR);                
    E_LOAD_32IMM(R3, SPI_FIFOWR__BASIC_CONFIG_WR);    

E_LABEL("WRITE_BYTES_LOOP");   

    //Subtract 1 and to see if this is the last byte
    //if so, change the SPI register for the last transmission to flat EOT and disable chip selects

    E_SUB_IMMS(R2, R2, 1); 
    E_COND_GOTO(NZ, "NEXT_BYTE_OUT");
    E_LOAD_32IMM(R3, SPI_FIFOWR__BASIC_CONFIG_WR_EOT);

E_LABEL("NEXT_BYTE_OUT");  
    
    E_LDRB_POST(R4, R5, 1);
    E_OR(R0,R3, R4);

    E_GOSUB("SPI_WR_BYTE");
    E_ADD_IMMS(R2, R2, 0);                      //UPDATE THE ALU FLAGS 
    E_COND_GOTO(ZE, "END");
    E_GOTO("WRITE_BYTES_LOOP");

    E_GOTO("END");


/*
    SPI_WR_BYTE
        R0  -   CURRENT BYTE TO TRANSMIT    -   ARG
        R1  -   SPI8_FIFOWR_ADDR
*/
E_LABEL("SPI_WR_BYTE");
    E_PUSH(RA);
    E_STR(R1, R0, 0);
    E_WAIT_FOR_BEAT();
    E_POP(RA);
    E_GOTO_REG(RA);


/*
    SPI_WR_32_BITS
        R0  -   ADDRESS OF THE 32-BIT value to transmit
        R1  -   CURRENT BYTE TO TRANSMIT
        R2  -   SPI TRANSACTION CONFIGS + BYTE TO WRITE
        R3  -   SPI8_FIFOWR_ADDR
*/



/*
    END
        End the program and trigger an interrupt
*/
E_LABEL("END");
    E_PER_WRITE(R1, EZH2ARM);               // IRQ
    

    E__END();   

}


void ezh_app__spi_rd(void)
{
    E_NOP;
    E_NOP;

    E_PER_READ(R6, ARM2EZH);                    // Read the base address of the parameters into R6
    E_LSR(R6, R6, 2);                           // make sure parameter structure 32-bit aligned
    E_LSL(R6, R6, 2); 
    E_LDR(SP, R6, 0);                           // load stack pointer from the 1st 32-bit word of the parameter struct
    E_LDR(R7, R6, 1);                           // R7 -> load the base address the parameters struct

    E_LOAD_32IMM(R3, SPI8_FIFORD_ADDR);                 // R3 = SPI8_FIFORD_ADDR
    E_LDR(R5, R7, 3);                                   // R5 = RX_BUFF PTR

  
    E_HEART_RYTHM_IMM(MAGIC_RYTHM);

    // Transmit CMD + ADDR
    E_ADD_IMM(R0, R7, 0);                               // R0 = cmd_and_addr
    E_GOSUB("SPI_WR_32_BITS");

    E_LOAD_32IMM(R0, SPI_FIFOWR__BASIC_CONFIG_WR);      // R0 = SPI_FIFOWR__BASIC_CONFIG_WR
    E_LOAD_32IMM(R1, SPI8_FIFOWR_ADDR);                 // R1 = SPI8_FIFOWR_ADDR    

    // Wait do not care cycles (1 bytes - 8 cycles)
    E_LDR(R2, R7, 1);                                   // R2 = NUM OF DONT CARE BYTES
    E_ADD_IMMS(R2, R2, 0);                              // UPDATE FLAGS
    E_COND_GOTO(ZE, "READ_BYTES");
    E_LOAD_32IMM(R0, SPI_FIFOWR__BASIC_CONFIG_WR);      // R0 = SPI_FIFOWR__BASIC_CONFIG_WR
    E_LOAD_32IMM(R1, SPI8_FIFOWR_ADDR);                 // R1 = SPI8_FIFOWR_ADDR    

E_LABEL("DONT_CARE_BYTES_LOOP");
    E_COND_GOTO(ZE, "READ_BYTES");
    E_STR(R1, R0, 0);  //send out junk
    E_SUB_IMMS(R2, R2, 1); 
    E_GOSUB("DONT_CARE_BYTES_LOOP");

    // READ INCOMING BYTES AND PUT THEM IN THE PARAMS BUFFER
E_LABEL("READ_BYTES");
        
    E_LDR(R2, R7, 2);                                   // R2 = NUM OF BYTES TO READ

    // Setup spi write reg
    E_LOAD_32IMM(R0, SPI_FIFOWR__BASIC_CONFIG_RD);      // R0 = SPI_FIFOWR__BASIC_CONFIG_RD
    E_OR_IMM(R0, R0, SPI_READ_JUNK_BYTE);
    E_LOAD_32IMM(R1, SPI8_FIFOWR_ADDR);                 // R1 = SPI8_FIFOWR_ADDR

    //start TX pipeline

    E_STR(R1, R0, 0);
    E_STR(R1, R0, 0);
    E_STR(R1, R0, 0);
    E_STR(R1, R0, 0);
    
    E_SUB_IMMS(R2, R2, 4); 

    // POLL UNTIL WE GET "START_RXLVL" INCOMING BYTES -- should be 1/2 of the tx start pipeline
E_LABEL("POLL_START");
    E_LOAD_32IMM(R0, SPI8_FIFOSTAT_ADDR);                 // R1 = SPI8_FIFOWR_
E_LABEL("POLL_START_LOOP");
    E_LDRB(R1, R0, 2);
    E_AND_IMM(R1, R1, 0b11111);
    E_SUB_IMMS(R1, R1, START_RXLVL);
    E_COND_GOTO(NZ, "POLL_START_LOOP");

    E_LOAD_32IMM(R0, SPI_FIFOWR__BASIC_CONFIG_RD);      // R0 = SPI_FIFOWR__BASIC_CONFIG_RD
    E_LOAD_32IMM(R1, SPI8_FIFOWR_ADDR);                 // R1 = SPI8_FIFOWR_ADDR

E_LABEL("READ_BYTES_LOOP");   

    //Subtract 1 and to see if this is the last byte
    //if so, change the SPI register for the last transmission to flat EOT and disable chip selects
    E_SUB_IMMS(R2, R2, 1); 
    E_COND_GOTO(NZ, "NEXT_BYTE_OUT");
    E_LOAD_32IMM(R0, SPI_FIFOWR__BASIC_CONFIG_RD_EOT);      // R0 = SPI_FIFOWR__BASIC_CONFIG_RD

E_LABEL("NEXT_BYTE_OUT");   

    E_GOSUB("SPI_WR_BYTE");                             //WRITE TO GENERATE THE CLOCK
    
    //READ THE FIFO, STORE IT IN THE RX_BUFFER, AND THEN INCREMENT THE PTR
    E_LDR(R4, R3, 0);
    E_STRB_POST(R5, R4, 1);
    
    E_ADD_IMMS(R2, R2, 0); 
    E_COND_GOTO(ZE, "CLEAN_FIFO");
    E_GOSUB("READ_BYTES_LOOP");


E_LABEL("CLEAN_FIFO");
    E_WAIT_FOR_BEAT();
    E_WAIT_FOR_BEAT();
    E_LOAD_32IMM(R0, SPI8_FIFOSTAT_ADDR);                 // R1 = SPI8_FIFOWR_
E_LABEL("CLEAN_FIFO_LOOP");
    E_LDRB(R1, R0, 2);
    E_AND_IMMS(R1, R1, 0b11111);
    E_COND_GOTO(ZE, "END");

    //READ THE FIFO, STORE IT IN THE RX_BUFFER, AND THEN INCREMENT THE PTR
    E_LDR(R4, R3, 0);
    E_STRB_POST(R5, R4, 1);
    E_GOTO("CLEAN_FIFO_LOOP");

    E_GOTO("END");
E_LABEL("LAST_BYTE");


/*
    SPI_WR_BYTE
        R0  -   CURRENT BYTE TO TRANSMIT    -   ARG
        R1  -   SPI8_FIFOWR_ADDR
*/
E_LABEL("SPI_WR_BYTE");
    TOGGLE_TEST_IO;
    E_PUSH(RA);
    E_STR(R1, R0, 0);
    E_WAIT_FOR_BEAT();
    E_POP(RA);
    E_GOTO_REG(RA);
    TOGGLE_TEST_IO; 

/*
    SPI_WR_32_BITS
        R0  -   ADDRESS OF THE 32-BIT value to transmit
        R1  -   CURRENT BYTE TO TRANSMIT
        R2  -   SPI TRANSACTION CONFIGS + BYTE TO WRITE
        R3  -   SPI8_FIFOWR_ADDR
*/
E_LABEL("SPI_WR_32_BITS");
    E_PUSH(RA);
    E_PUSH(R1);
    E_PUSH(R2);
    E_PUSH(R3);   

    TOGGLE_TEST_IO;
    
    // TRANSMIT value[31:24]
    E_LOAD_32IMM(R3, SPI8_FIFOWR_ADDR);               // R3 = SPI8_FIFOWR_ADDR
    E_LOAD_32IMM(R2, SPI_FIFOWR__BASIC_CONFIG_WR);     // R2 = SPI_FIFOWR__BASIC_CONFIG_RD
    E_LDRB(R1, R0, 3);              
    E_OR(R2, R2, R1);
    E_STR(R3, R2, 0);

    // TRANSMIT value[33:16]
    E_LOAD_32IMM(R2, SPI_FIFOWR__BASIC_CONFIG_WR); 
    E_LDRB(R1, R0, 2); 
    E_OR(R2, R2, R1);
    E_STR(R3, R2, 0);


    // TRANSMIT value[15:8]
    E_LOAD_32IMM(R2, SPI_FIFOWR__BASIC_CONFIG_WR);
    E_LDRB(R1, R0, 1);
    E_OR(R2, R2, R1);
    E_STR(R3, R2, 0);
    
    // TRANSMIT value[7:0]
    E_LOAD_32IMM(R2, SPI_FIFOWR__BASIC_CONFIG_WR);
    E_LDRB(R1, R0, 0);
    E_OR(R2, R2, R1);
    E_STR(R3, R2, 0);   
    
    TOGGLE_TEST_IO;
    
    E_POP(R3);
    E_POP(R2);
    E_POP(R1);
    E_POP(RA);
    E_GOTO_REG(RA);


/*  
    END
*/
E_LABEL("END");

    E_PER_WRITE(R1, EZH2ARM);               // IRQ  

    E__END();   
}
```

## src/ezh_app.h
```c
#include "stdint.h"

#pragma once

#ifndef _EZH_APP_H
#define _EZH_APP_H

#ifdef __cplusplus
extern "C" {
#endif

#define   SPI_RD_MAX_LENGTH       128
#define   CONFIG__SPI_SCK_FREQ    50000000
#define   EZH_TEST_GPIO_1         3

bool ezh__command_complete();

typedef struct
{
    uint32_t cmd_and_addr;          // (cmd(8bits) << 24) | add(24bits)
    uint32_t wait_cycles;
    uint32_t buffer_length;
    uint32_t * buffer_ptr;

} ezh_spi_params_t;


typedef struct _EZHPWM_Para
{
    void  *coprocessor_stack;
    uint32_t *p_buffer;
} EZHPWM_Para;

typedef enum
{
    SPI_WRITE_APP,
    SPI_READ_APP,
    EZH_APP_QTY,
} ezh_applications_e;



void ezh__build_apps();
void ezh__execute_command(uint8_t cmd, EZHPWM_Para * ezh_parameters);

#ifdef __cplusplus
}
#endif

#endif
```

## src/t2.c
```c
#include <zephyr/kernel.h>
#include <zephyr/logging/log.h>
#include <zephyr/drivers/gpio.h>

// Thread configurations
#define CONFIG__T2_TH_STACK_SIZE 2048
#define CONFIG__T2_TH_PRIORITY 5

void t2_thread_task(void *, void *, void *);

K_THREAD_DEFINE(t2_thread, CONFIG__T2_TH_STACK_SIZE,
                t2_thread_task, NULL, NULL, NULL,
                CONFIG__T2_TH_PRIORITY, 0, 0);

LOG_MODULE_REGISTER(t2);



void t2_thread_task(void *, void *, void *)
{

    while (1)
    {
        k_sleep(K_MSEC(50));
    }

    while (1)
    {
        LOG_INF("Hello from T2!");
        k_sleep(K_MSEC(500));
    }
}
```
